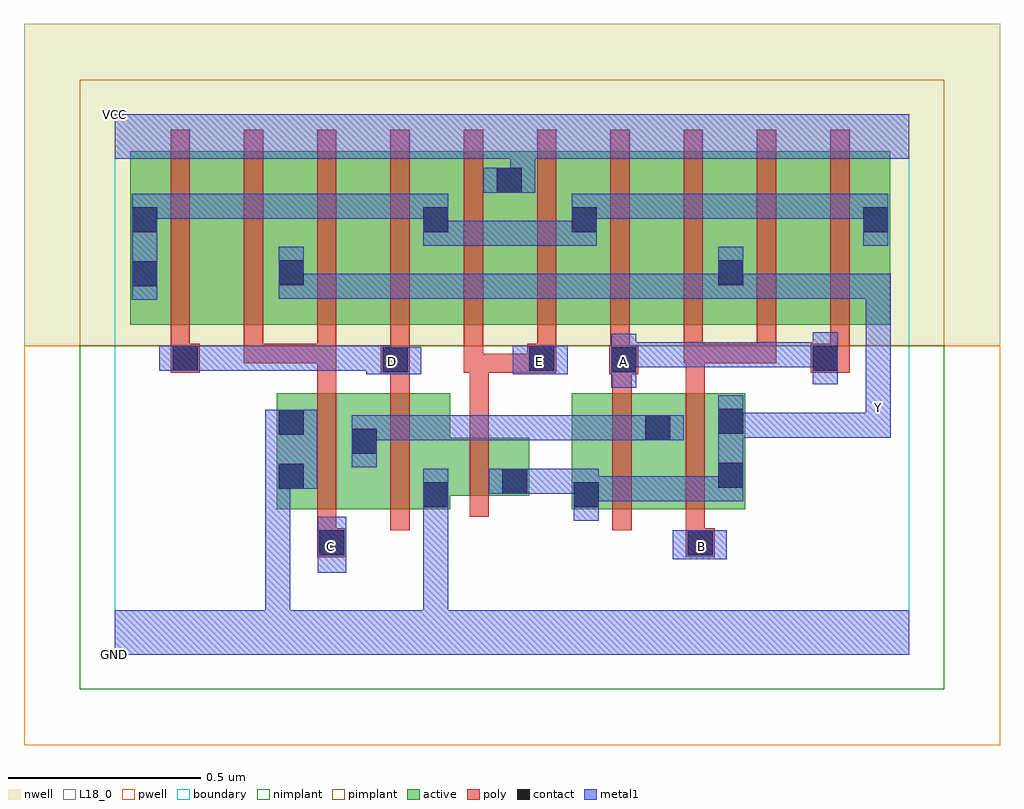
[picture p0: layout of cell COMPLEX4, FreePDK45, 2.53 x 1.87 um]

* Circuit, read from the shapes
.subckt COMPLEX4 A B C D E GND VCC Y
M1 n1 C GND VSUBS nfet w=0.3u l=0.05u
M2 GND D n1 VSUBS nfet w=0.3u l=0.05u
M3 Y E GND VSUBS nfet w=0.15u l=0.05u
M4 n1 A Y VSUBS nfet w=0.3u l=0.05u
M5 Y B n1 VSUBS nfet w=0.3u l=0.05u
M6 n2 D n3 n4 pfet w=0.45u l=0.05u
M7 Y C n2 n4 pfet w=0.45u l=0.05u
M8 n5 C Y n4 pfet w=0.45u l=0.05u
M9 n3 D n5 n4 pfet w=0.45u l=0.05u
M10 VCC E n3 n4 pfet w=0.45u l=0.05u m=2
M11 n6 A n3 n4 pfet w=0.45u l=0.05u
M12 Y B n6 n4 pfet w=0.45u l=0.05u
M13 n7 B Y n4 pfet w=0.45u l=0.05u
M14 n3 A n7 n4 pfet w=0.45u l=0.05u
.ends

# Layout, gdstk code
import gdstk
lib = gdstk.Library(unit=1e-6, precision=1e-09)
def R(c, l, rs):  # rectangles x0, y0, x1, y1
    for r in rs: c.add(gdstk.rectangle(r[:2], r[2:], *l))
def A(c, l, x, y, w, h, nx, ny, dx, dy):  # array of equal rectangles
    R(c, l, [(x+i*dx, y+j*dy, x+i*dx+w, y+j*dy+h) for i in range(nx) for j in range(ny)])
active = (1, 0)
pwell = (2, 0)
nwell = (3, 0)
nimplant = (4, 0)
pimplant = (5, 0)
poly = (9, 0)
contact = (10, 0)
metal1 = (11, 0)
L18_0 = (18, 0)
boundary = (235, 0)

complex4 = lib.new_cell('COMPLEX4')
R(complex4, active, [(0.42,0.377,0.685,0.677), (0.61,0.377,0.87,0.677), (0.61,0.377,0.685,0.59), (0.795,0.377,0.87,0.547), (1.185,0.377,1.445,0.677), (1.185,0.377,1.26,0.537), (1.37,0.377,1.635,0.677), (0.42,0.407,0.495,0.677), (1.56,0.407,1.635,0.677), (0.795,0.412,1.075,0.562), (1,0.412,1.075,0.547), (1.37,0.445,1.445,0.625), (0.04,0.855,0.265,1.305), (0.04,0.855,0.145,1.2), (0.265,0.855,0.495,1.305), (0.42,0.855,0.645,1.305), (0.42,0.855,0.495,1.07), (0.645,0.855,0.87,1.305), (0.795,0.855,0.87,1.2), (0.795,0.855,1.06,1.305), (0.985,0.855,1.255,1.305), (0.985,0.855,1.06,1.305), (1.18,0.855,1.405,1.305), (1.405,0.855,1.635,1.305), (1.56,0.855,1.785,1.305), (1.56,0.855,1.635,1.07), (1.785,0.855,2.01,1.305), (1.935,0.855,2.01,1.2), (1.18,0.857,1.255,1.2)])
R(complex4, pwell, [(-0.235,-0.235,2.295,0.8)])
R(complex4, nwell, [(-0.235,0.8,2.295,1.635)])
R(complex4, nimplant, [(-0.09,-0.09,2.15,0.8)])
R(complex4, pimplant, [(-0.09,0.8,2.15,1.49)])
A(complex4, poly, 0.145, 0.755, 0.05, 0.095, 3, 1, 0.19, 0)
A(complex4, poly, 1.475, 0.755, 0.05, 0.095, 3, 1, 0.19, 0)
A(complex4, poly, 0.145, 0.8, 0.05, 0.56, 10, 1, 0.19, 0)
R(complex4, poly, [(0.525,0.252,0.6,0.327), (1.48,0.252,1.555,0.327), (0.525,0.277,0.575,0.372), (1.48,0.277,1.53,0.372), (0.525,0.322,0.575,0.732), (0.715,0.322,0.765,0.732), (1.29,0.322,1.34,0.732), (1.48,0.322,1.53,0.732), (0.92,0.357,0.97,0.617), (0.92,0.567,0.97,0.78), (0.525,0.682,0.575,0.805), (0.715,0.682,0.765,0.777), (1.29,0.682,1.34,0.777), (1.48,0.682,1.53,0.805), (0.69,0.727,0.765,0.802), (1.282,0.727,1.357,0.802), (0.145,0.73,0.22,0.805), (0.905,0.73,0.955,0.85), (0.905,0.73,0.97,0.78), (0.92,0.73,1.12,0.78), (1.07,0.73,1.12,0.78), (1.07,0.73,1.12,0.78), (1.07,0.73,1.145,0.805), (1.805,0.73,1.905,0.805), (0.715,0.752,0.765,0.85), (1.285,0.752,1.335,0.85), (0.335,0.755,0.385,0.805), (0.335,0.755,0.575,0.805), (0.525,0.755,0.575,0.805), (0.525,0.755,0.575,0.805), (0.525,0.755,0.575,0.805), (1.095,0.755,1.145,0.85), (1.475,0.755,1.53,0.805), (1.48,0.755,1.715,0.805), (1.665,0.755,1.715,0.805), (1.665,0.755,1.715,0.805), (1.665,0.755,1.715,0.805)])
R(complex4, contact, [(0.53,0.257,0.595,0.322), (1.485,0.257,1.55,0.322), (0.8,0.382,0.865,0.447), (1.19,0.382,1.255,0.447), (1.005,0.417,1.07,0.482), (0.425,0.43,0.49,0.495), (1.565,0.432,1.63,0.497), (0.615,0.52,0.68,0.585), (1.375,0.555,1.44,0.62), (0.425,0.57,0.49,0.635), (1.565,0.572,1.63,0.637), (0.695,0.732,0.76,0.797), (1.287,0.732,1.352,0.797), (0.15,0.735,0.215,0.8), (1.075,0.735,1.14,0.8), (1.81,0.735,1.875,0.8), (0.045,0.955,0.11,1.02), (0.425,0.957,0.49,1.022), (1.565,0.957,1.63,1.022), (0.045,1.095,0.11,1.16), (0.8,1.095,0.865,1.16), (1.185,1.095,1.25,1.16), (1.94,1.095,2.005,1.16), (0.99,1.197,1.055,1.262)])
R(complex4, metal1, [(0,0,2.06,0.115), (0.39,0.05,0.455,0.115), (0.39,0.05,0.455,0.115), (0.39,0.05,0.455,0.115), (0.39,0.05,0.455,0.115), (0.39,0.05,0.455,0.115), (0.39,0.05,0.455,0.115), (0.39,0.05,0.455,0.495), (0.8,0.05,0.865,0.115), (0.8,0.05,0.865,0.115), (0.8,0.05,0.865,0.412), (0.527,0.212,0.6,0.357), (1.447,0.247,1.587,0.322), (0.8,0.347,0.865,0.482), (0.8,0.347,0.865,0.412), (0.8,0.347,0.865,0.412), (0.8,0.347,0.865,0.412), (0.8,0.347,0.865,0.412), (1.19,0.347,1.255,0.482), (1.19,0.397,1.255,0.462), (1.19,0.397,1.255,0.462), (1.19,0.397,1.49,0.462), (1.425,0.397,1.49,0.462), (1.425,0.397,1.49,0.462), (1.425,0.397,1.49,0.462), (1.425,0.397,1.63,0.462), (1.565,0.397,1.63,0.462), (1.565,0.397,1.63,0.462), (1.565,0.397,1.63,0.672), (0.97,0.417,1.105,0.482), (1.04,0.417,1.105,0.482), (1.04,0.417,1.105,0.482), (1.04,0.417,1.255,0.482), (0.39,0.43,0.525,0.635), (0.615,0.485,0.68,0.62), (0.615,0.555,0.68,0.62), (0.615,0.555,0.68,0.62), (0.615,0.555,0.865,0.62), (0.8,0.555,0.865,0.62), (0.8,0.555,0.865,0.62), (0.8,0.555,0.865,0.62), (0.8,0.555,1.002,0.62), (0.937,0.555,1.002,0.62), (0.937,0.555,1.002,0.62), (0.937,0.555,1.002,0.62), (0.937,0.555,1.242,0.62), (1.177,0.555,1.242,0.62), (1.177,0.555,1.242,0.62), (1.177,0.555,1.242,0.62), (1.177,0.555,1.405,0.62), (1.34,0.555,1.475,0.62), (1.565,0.562,1.63,0.627), (1.565,0.562,1.63,0.627), (1.565,0.562,1.867,0.627), (1.802,0.562,2.012,0.627), (1.802,0.562,1.867,0.627), (1.947,0.562,2.012,0.627), (1.947,0.562,2.012,0.627), (1.947,0.562,2.012,0.627), (1.947,0.562,2.012,0.637), (1.947,0.572,2.012,0.707), (1.947,0.642,2.012,0.987), (1.287,0.692,1.352,0.832), (1.81,0.7,1.875,0.835), (0.652,0.727,0.795,0.797), (1.032,0.727,1.175,0.8), (0.652,0.732,0.717,0.797), (0.652,0.732,0.717,0.8), (0.115,0.735,0.25,0.8), (0.185,0.735,0.25,0.8), (0.185,0.735,0.25,0.8), (0.185,0.735,0.387,0.8), (0.322,0.735,0.387,0.8), (0.322,0.735,0.387,0.8), (0.322,0.735,0.387,0.8), (0.322,0.735,0.542,0.8), (0.477,0.735,0.542,0.8), (0.477,0.735,0.717,0.8), (1.287,0.745,1.492,0.81), (1.427,0.745,1.63,0.81), (1.427,0.745,1.492,0.81), (1.427,0.745,1.492,0.81), (1.427,0.745,1.492,0.81), (1.565,0.745,1.63,0.81), (1.565,0.745,1.63,0.81), (1.565,0.745,1.63,0.81), (1.565,0.745,1.867,0.81), (1.802,0.745,1.867,0.81), (1.802,0.745,1.875,0.81), (0.045,0.92,0.11,1.195), (0.425,0.922,0.49,1.057), (0.425,0.922,0.525,0.987), (0.46,0.922,0.525,0.987), (0.46,0.922,0.727,0.987), (0.662,0.922,0.865,0.987), (0.662,0.922,0.727,0.987), (0.662,0.922,0.727,0.987), (0.662,0.922,0.727,0.987), (0.8,0.922,0.865,0.987), (0.8,0.922,0.865,0.987), (0.8,0.922,0.865,0.987), (0.8,0.922,1.002,0.987), (0.937,0.922,1.002,0.987), (0.937,0.922,1.002,0.987), (0.937,0.922,1.002,0.987), (0.937,0.922,1.242,0.987), (1.177,0.922,1.242,0.987), (1.177,0.922,1.242,0.987), (1.177,0.922,1.242,0.987), (1.177,0.922,1.49,0.987), (1.425,0.922,1.49,0.987), (1.425,0.922,1.49,0.987), (1.425,0.922,1.49,0.987), (1.425,0.922,1.63,0.987), (1.565,0.922,1.63,1.057), (1.565,0.922,1.63,0.987), (1.565,0.922,1.63,0.987), (1.565,0.922,1.867,0.987), (1.802,0.922,2.012,0.987), (1.802,0.922,1.867,0.987), (1.802,0.922,1.867,0.987), (1.802,0.922,1.867,0.987), (1.947,0.922,2.012,0.987), (0.8,1.06,0.865,1.195), (0.8,1.06,0.865,1.125), (0.8,1.06,0.865,1.125), (0.8,1.06,1.002,1.125), (0.937,1.06,1.002,1.125), (0.937,1.06,1.002,1.125), (0.937,1.06,1.002,1.125), (0.937,1.06,1.25,1.125), (1.185,1.06,1.25,1.195), (1.94,1.06,2.005,1.195), (0.045,1.13,0.25,1.195), (0.185,1.13,0.25,1.195), (0.185,1.13,0.25,1.195), (0.185,1.13,0.25,1.195), (0.185,1.13,0.25,1.195), (0.185,1.13,0.25,1.195), (0.185,1.13,0.387,1.195), (0.322,1.13,0.387,1.195), (0.322,1.13,0.387,1.195), (0.322,1.13,0.387,1.195), (0.322,1.13,0.542,1.195), (0.477,1.13,0.542,1.195), (0.477,1.13,0.727,1.195), (0.662,1.13,0.865,1.195), (0.662,1.13,0.727,1.195), (0.662,1.13,0.727,1.195), (0.662,1.13,0.727,1.195), (1.185,1.13,1.25,1.195), (1.185,1.13,1.25,1.195), (1.185,1.13,1.49,1.195), (1.425,1.13,1.49,1.195), (1.425,1.13,1.49,1.195), (1.425,1.13,1.49,1.195), (1.425,1.13,1.73,1.195), (1.665,1.13,1.73,1.195), (1.665,1.13,1.73,1.195), (1.665,1.13,1.73,1.195), (1.665,1.13,1.867,1.195), (1.802,1.13,2.005,1.195), (1.802,1.13,1.867,1.195), (1.802,1.13,1.867,1.195), (1.802,1.13,1.867,1.195), (0.955,1.197,1.09,1.262), (1.025,1.197,1.09,1.35), (0,1.285,2.06,1.4)])
R(complex4, L18_0, [(0,0,2.06,0.115), (0.39,0.05,0.455,0.115), (0.39,0.05,0.455,0.115), (0.39,0.05,0.455,0.115), (0.39,0.05,0.455,0.115), (0.39,0.05,0.455,0.115), (0.39,0.05,0.455,0.115), (0.39,0.05,0.455,0.495), (0.8,0.05,0.865,0.115), (0.8,0.05,0.865,0.115), (0.8,0.05,0.865,0.412), (0.527,0.212,0.6,0.357), (0.527,0.247,0.592,0.312), (1.447,0.247,1.587,0.322), (1.487,0.247,1.552,0.312), (0.8,0.347,0.865,0.412), (0.8,0.347,0.865,0.412), (0.8,0.347,0.865,0.412), (0.8,0.347,0.865,0.412), (0.8,0.347,0.865,0.482), (1.19,0.347,1.255,0.482), (1.19,0.397,1.255,0.462), (1.19,0.397,1.255,0.462), (1.19,0.397,1.49,0.462), (1.425,0.397,1.49,0.462), (1.425,0.397,1.49,0.462), (1.425,0.397,1.49,0.462), (1.425,0.397,1.63,0.462), (1.565,0.397,1.63,0.462), (1.565,0.397,1.63,0.462), (1.565,0.397,1.63,0.672), (0.97,0.417,1.105,0.482), (1.04,0.417,1.105,0.482), (1.04,0.417,1.105,0.482), (1.04,0.417,1.255,0.482), (0.39,0.43,0.525,0.635), (1.565,0.562,1.63,0.627), (1.565,0.562,1.63,0.627), (1.565,0.562,1.867,0.627), (1.802,0.562,1.867,0.627), (1.802,0.562,2.012,0.627), (1.947,0.562,2.012,0.627), (1.947,0.562,2.012,0.627), (1.947,0.562,2.012,0.627), (1.947,0.562,2.012,0.637), (1.947,0.572,2.012,0.707), (1.947,0.607,2.012,0.672), (1.947,0.642,2.012,0.987), (1.287,0.692,1.352,0.832), (1.81,0.7,1.875,0.835), (0.652,0.727,0.795,0.797), (0.687,0.727,0.752,0.792), (1.032,0.727,1.175,0.8), (1.067,0.727,1.132,0.792), (1.287,0.727,1.352,0.792), (0.652,0.732,0.717,0.797), (0.652,0.732,0.717,0.8), (0.115,0.735,0.25,0.8), (0.185,0.735,0.25,0.8), (0.185,0.735,0.25,0.8), (0.185,0.735,0.387,0.8), (0.322,0.735,0.387,0.8), (0.322,0.735,0.387,0.8), (0.322,0.735,0.387,0.8), (0.322,0.735,0.542,0.8), (0.477,0.735,0.542,0.8), (0.477,0.735,0.717,0.8), (1.287,0.745,1.492,0.81), (1.427,0.745,1.492,0.81), (1.427,0.745,1.492,0.81), (1.427,0.745,1.492,0.81), (1.427,0.745,1.63,0.81), (1.565,0.745,1.63,0.81), (1.565,0.745,1.63,0.81), (1.565,0.745,1.63,0.81), (1.565,0.745,1.867,0.81), (1.802,0.745,1.867,0.81), (1.802,0.745,1.875,0.81), (0.425,0.922,0.49,1.057), (0.425,0.922,0.525,0.987), (0.46,0.922,0.525,0.987), (0.46,0.922,0.727,0.987), (0.662,0.922,0.727,0.987), (0.662,0.922,0.727,0.987), (0.662,0.922,0.727,0.987), (0.662,0.922,0.865,0.987), (0.8,0.922,0.865,0.987), (0.8,0.922,0.865,0.987), (0.8,0.922,0.865,0.987), (0.8,0.922,1.002,0.987), (0.937,0.922,1.002,0.987), (0.937,0.922,1.002,0.987), (0.937,0.922,1.002,0.987), (0.937,0.922,1.242,0.987), (1.177,0.922,1.242,0.987), (1.177,0.922,1.242,0.987), (1.177,0.922,1.242,0.987), (1.177,0.922,1.49,0.987), (1.425,0.922,1.49,0.987), (1.425,0.922,1.49,0.987), (1.425,0.922,1.49,0.987), (1.425,0.922,1.63,0.987), (1.565,0.922,1.63,0.987), (1.565,0.922,1.63,0.987), (1.565,0.922,1.63,1.057), (1.565,0.922,1.867,0.987), (1.802,0.922,1.867,0.987), (1.802,0.922,1.867,0.987), (1.802,0.922,1.867,0.987), (1.802,0.922,2.012,0.987), (1.947,0.922,2.012,0.987), (0.955,1.197,1.09,1.262), (1.025,1.197,1.09,1.35), (0,1.285,2.06,1.4)])
R(complex4, boundary, [(0,0,2.06,1.4)])
complex4.add(gdstk.Label('A', (1.32,0.76), layer=11, texttype=0))
complex4.add(gdstk.Label('B', (1.52,0.28), layer=11, texttype=0))
complex4.add(gdstk.Label('C', (0.56,0.28), layer=11, texttype=0))
complex4.add(gdstk.Label('D', (0.72,0.76), layer=11, texttype=0))
complex4.add(gdstk.Label('E', (1.1,0.76), layer=11, texttype=0))
complex4.add(gdstk.Label('Y', (1.98,0.64), layer=11, texttype=0))
complex4.add(gdstk.Label('VCC', (0,1.4), layer=11, texttype=0))
complex4.add(gdstk.Label('GND', (0,0), layer=11, texttype=0))

lib.write_gds('COMPLEX4.gds')
